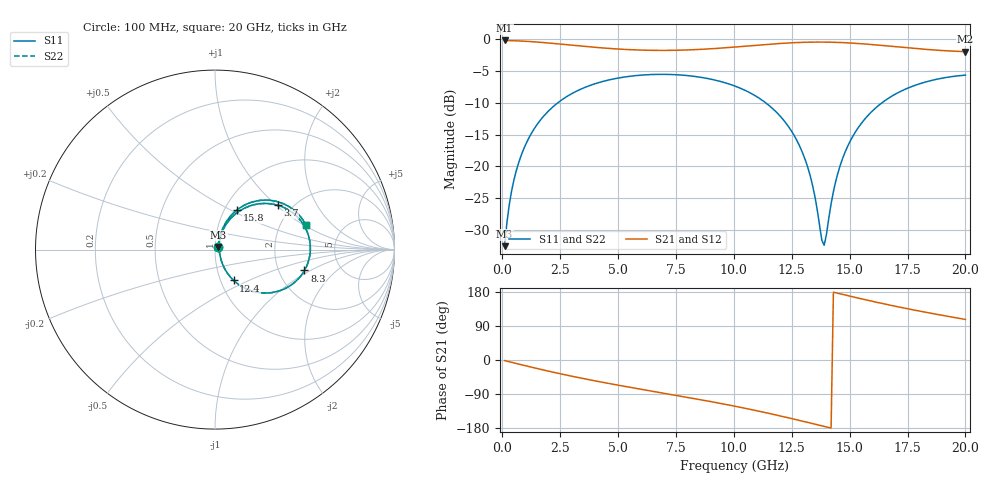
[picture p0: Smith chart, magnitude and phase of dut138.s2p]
! Touchstone file exported from HFSS 2026.1.0
!  File:  C:/ffzhzh/LocalFiles/Ansys_Project_Files/temp_train_TSV_RDL_138_1783050312_36532.aedt
!  Generated:  11:54:39 AM Jul  3, 2026
!  Design:  TSV_RDL
!  Project:  temp_train_TSV_RDL_138_1783050312_36532
! Variables:
!  h_bsmrdl = 3.12um
!  h_ox = 20um
!  h_rdl = 5um
!  h_sub = 56.8um
!  h_tmrdl = 5.64um
!  h_tsv = 56.8um
!  h_via = 3um
!  l_bsmrdl = 138.7um
!  l_sub = 4388.26um
!  l_tmrdl = 871.23um
!  m_sub = 200um
!  pitch = 46.88um
!  r_tsv = 13.11um
!  s_tmrdl = 10um
!  w_bsmrdl = 10.88um
!  w_sub = 500um
!  w_tmrdl = 18.2um
!  x_tsv_center1 = 880.33um
!  x_tsv_center2 = 1029.91um
!  x_tsv_center3 = 1919.34um
!  x_tsv_center4 = 2068.92um
!  x_tsv_center5 = 2958.35um
!  x_tsv_center6 = 3107.93um
# GHz S MA R 50.000000
! Terminal data exported
! Port[1] = TM_RDL1_1_T1
! Port[2] = TM_RDL5_1_T1
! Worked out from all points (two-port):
!   200 points, 100 MHz to 20 GHz, reference 50 ohm
!   highest |S21| = -0.15 dB at 100 MHz (marker M1); lowest = -1.9 dB at 20 GHz (marker M2)
!   |S21| within 3 dB of the highest: start of sweep to end of sweep
!   lowest |S11| = -32.6 dB at 100 MHz (marker M3), VSWR 1.05, Z = 51.8 + j1.59 ohm
!   |S11| at or under -10 dB: start of sweep to 2.388 GHz; 11.38 GHz to 16.39 GHz (5.004 GHz wide, 36 % of centre)
!   |S22| runs from -32.6 to -5.5 dB; largest |S21 - S12| = 1.6e-14
!   S11 on the Smith chart (normalised r, x): 100 MHz: 1.04, +0.03; 3.7 GHz: 1.69, +1.02; 8.3 GHz: 2.79, -0.88; 12.4 GHz: 1.15, -0.41; 15.8 GHz: 1.14, +0.54; 20 GHz: 2.75, +1.05
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0.1  0.02355 40.7  0.9824 -1.6  0.9824 -1.6  0.02355 40.7
! Gamma 0 0 0 0
! Port Impedance 50 0 50 0
0.3  0.04985 63.2  0.9802 -4.7  0.9802 -4.7  0.04985 63.2
0.5  0.07789 67.6  0.9775 -7.7  0.9775 -7.7  0.07789 67.6
1.1  0.1611 65.7  0.9658 -16.6  0.9658 -16.6  0.1611 65.7
2.1  0.2852 54.4  0.9348 -30.9  0.9348 -30.9  0.2852 54.4
3.5  0.4144 37.5  0.8839 -49.0  0.8839 -49.0  0.4144 37.5
3.7  0.4286 35.2  0.8771 -51.4  0.8771 -51.4  0.4286 35.2
6.8  0.5313 2.2  0.8202 -85.8  0.8202 -85.8  0.5313 2.2
8.3  0.5119 -13.1  0.8313 -101.9  0.8313 -101.9  0.512 -13.1
10.1  0.4259 -32.6  0.8735 -122.6  0.8735 -122.6  0.426 -32.7
11.4  0.3147 -47.7  0.9134 -139.3  0.9134 -139.3  0.3147 -47.7
12.4  0.2009 -58.8  0.9397 -153.2  0.9397 -153.2  0.201 -58.8
13  0.1238 -62.9  0.9498 -161.9  0.9498 -161.9  0.1238 -63.1
13.4  0.07091 -60.2  0.9534 -167.8  0.9534 -167.8  0.07088 -60.4
13.8  0.02623 -20.5  0.9541 -173.7  0.9541 -173.7  0.02597 -20.9
13.9  0.02396 10.1  0.9538 -175.2  0.9538 -175.2  0.02362 10.0
14.3  0.06332 65.2  0.9508 178.9  0.9508 178.9  0.06312 65.5
14.6  0.1027 69.6  0.9466 174.5  0.9466 174.5  0.1025 69.8
15.1  0.1679 67.8  0.9366 167.2  0.9366 167.2  0.1677 67.9
15.8  0.2529 60.9  0.9172 157.4  0.9172 157.4  0.2528 61.0
16.7  0.3465 50.7  0.8871 145.3  0.8871 145.3  0.3464 50.8
20  0.524 15.3  0.8023 107.0  0.8023 107.0  0.524 15.4
